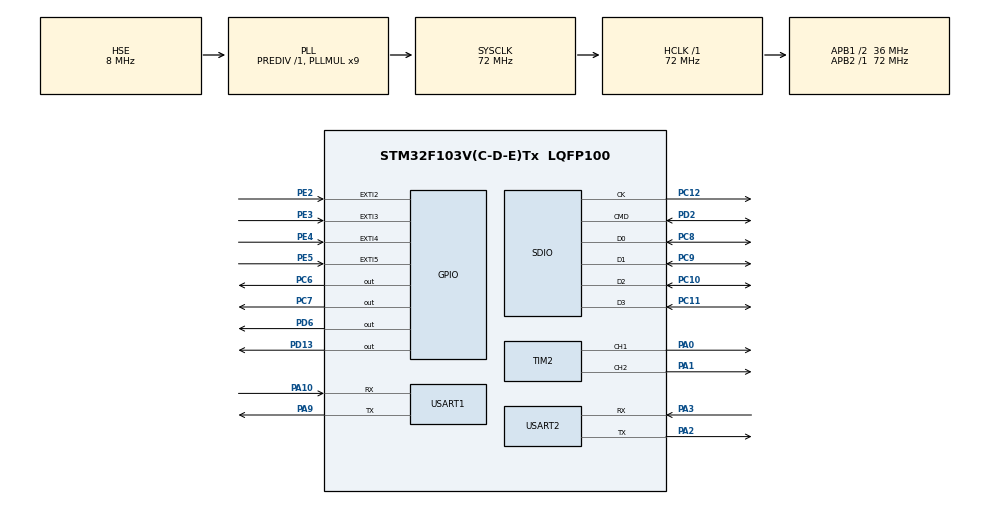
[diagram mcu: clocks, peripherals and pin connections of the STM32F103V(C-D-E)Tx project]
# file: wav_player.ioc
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FATFS._FS_LOCK=0
FATFS._FS_MINIMIZE=1
FATFS._FS_NORTC=1
FATFS._FS_READONLY=1
FATFS._FS_TINY=1
FATFS._USE_FASTSEEK=0
FATFS._USE_LFN=0
FATFS._USE_MKFS=0
FATFS._USE_STRFUNC=0
Mcu.Family=STM32F1
Mcu.Name=STM32F103V(C-D-E)Tx
Mcu.Package=LQFP100
NVIC.EXTI2_IRQn=true\:0\:0\:false
NVIC.EXTI3_IRQn=true\:0\:0\:false
NVIC.EXTI4_IRQn=true\:0\:0\:false
NVIC.EXTI9_5_IRQn=true\:0\:0\:false
NVIC.PriorityGroup=NVIC_PRIORITYGROUP_4
NVIC.TIM1_UP_IRQn=true\:0\:0\:false
OSC_IN.Mode=HSE-External-Oscillator
OSC_IN.Signal=RCC_OSC_IN
OSC_OUT.Mode=HSE-External-Oscillator
OSC_OUT.Signal=RCC_OSC_OUT
PA0-WKUP.Signal=S_TIM2_CH1_ETR
PA1.Signal=S_TIM2_CH2
PA10.Mode=Asynchronous
PA10.Signal=USART1_RX
PA2.Mode=Asynchronous
PA2.Signal=USART2_TX
PA3.Mode=Asynchronous
PA3.Signal=USART2_RX
PA9.Mode=Asynchronous
PA9.Signal=USART1_TX
PC10.Mode=SD_4_bits_Wide_bus
PC10.Signal=SDIO_D2
PC11.Mode=SD_4_bits_Wide_bus
PC11.Signal=SDIO_D3
PC12.Mode=SD_4_bits_Wide_bus
PC12.Signal=SDIO_CK
PC14-OSC32_IN.Mode=LSE-External-Oscillator
PC14-OSC32_IN.Signal=RCC_OSC32_IN
PC15-OSC32_OUT.Mode=LSE-External-Oscillator
PC15-OSC32_OUT.Signal=RCC_OSC32_OUT
PC6.Signal=GPIO_Output
PC7.Signal=GPIO_Output
PC8.Mode=SD_4_bits_Wide_bus
PC8.Signal=SDIO_D0
PC9.Mode=SD_4_bits_Wide_bus
PC9.Signal=SDIO_D1
PD13.Signal=GPIO_Output
PD2.Mode=SD_4_bits_Wide_bus
PD2.Signal=SDIO_CMD
PD6.Signal=GPIO_Output
PE2.Signal=GPXTI2
PE3.Signal=GPXTI3
PE4.Signal=GPXTI4
PE5.Signal=GPXTI5
ProjectManager.TargetToolchain=SW4STM32
RCC.AHBFreq_Value=72000000
RCC.APB1CLKDivider=RCC_HCLK_DIV2
RCC.APB1Freq_Value=36000000
RCC.APB1TimFreq_Value=72000000
RCC.APB2Freq_Value=72000000
RCC.APB2TimFreq_Value=72000000
RCC.HCLKFreq_Value=72000000
RCC.HSIState=RCC_HSI_ON
RCC.PLLMUL=RCC_PLL_MUL9
RCC.PLLSourceVirtual=RCC_PLLSOURCE_HSE
RCC.SYSCLKFreq_VALUE=72000000
RCC.SYSCLKSource=RCC_SYSCLKSOURCE_PLLCLK
RCC.USBFreq_Value=72000000
SDIO.BusWide=SDIO_BUS_WIDE_1B
SDIO.ClockDiv=3
SDIO.WideMode=SDIO_BUS_WIDE_4B
SH.S_TIM2_CH1_ETR.0=TIM2_CH1,PWM Generation1 CH1
SH.S_TIM2_CH2.0=TIM2_CH2,PWM Generation2 CH2
TIM2.Channel-PWM\ Generation2\ CH2=TIM_CHANNEL_2
TIM2.OCFastMode_PWM-PWM\ Generation1\ CH1=TIM_OCFAST_ENABLE
TIM2.OCFastMode_PWM-PWM\ Generation2\ CH2=TIM_OCFAST_ENABLE
VP_FATFS_VS_SDIO.Mode=SDIO
VP_TIM1_VS_ClockSourceINT.Mode=Internal
VP_TIM2_VS_ClockSourceINT.Mode=Internal
board=wav_player

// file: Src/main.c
/**
  ******************************************************************************
  * File Name          : main.c
  * Description        : Main program body
  ******************************************************************************
  *
  * COPYRIGHT(c) 2015 STMicroelectronics
  *
  * Redistribution and use in source and binary forms, with or without modification,
  * are permitted provided that the following conditions are met:
  *   1. Redistributions of source code must retain the above copyright notice,
  *      this list of conditions and the following disclaimer.
  *   2. Redistributions in binary form must reproduce the above copyright notice,
  *      this list of conditions and the following disclaimer in the documentation
  *      and/or other materials provided with the distribution.
  *   3. Neither the name of STMicroelectronics nor the names of its contributors
  *      may be used to endorse or promote products derived from this software
  *      without specific prior written permission.
  *
  * THIS SOFTWARE IS PROVIDED BY THE COPYRIGHT HOLDERS AND CONTRIBUTORS "AS IS"
  * AND ANY EXPRESS OR IMPLIED WARRANTIES, INCLUDING, BUT NOT LIMITED TO, THE
  * IMPLIED WARRANTIES OF MERCHANTABILITY AND FITNESS FOR A PARTICULAR PURPOSE ARE
  * DISCLAIMED. IN NO EVENT SHALL THE COPYRIGHT HOLDER OR CONTRIBUTORS BE LIABLE
  * FOR ANY DIRECT, INDIRECT, INCIDENTAL, SPECIAL, EXEMPLARY, OR CONSEQUENTIAL
  * DAMAGES (INCLUDING, BUT NOT LIMITED TO, PROCUREMENT OF SUBSTITUTE GOODS OR
  * SERVICES; LOSS OF USE, DATA, OR PROFITS; OR BUSINESS INTERRUPTION) HOWEVER
  * CAUSED AND ON ANY THEORY OF LIABILITY, WHETHER IN CONTRACT, STRICT LIABILITY,
  * OR TORT (INCLUDING NEGLIGENCE OR OTHERWISE) ARISING IN ANY WAY OUT OF THE USE
  * OF THIS SOFTWARE, EVEN IF ADVISED OF THE POSSIBILITY OF SUCH DAMAGE.
  *
  ******************************************************************************
  */
#include "stm32f1xx_hal.h"
#include "fatfs.h"

/* USER CODE BEGIN Includes */
#include <string.h>
#include <ctype.h>
/* USER CODE END Includes */

SD_HandleTypeDef hsd;
HAL_SD_CardInfoTypedef SDCardInfo;

TIM_HandleTypeDef htim1;
TIM_HandleTypeDef htim2;

UART_HandleTypeDef huart1;
UART_HandleTypeDef huart2;

/* USER CODE BEGIN PV */
/* Private variables ---------------------------------------------------------*/
FATFS fs;
DIR dir;
FIL fp;
FILINFO fi;

/* USER CODE END PV */

void SystemClock_Config(void);
static void MX_GPIO_Init(void);
static void MX_SDIO_SD_Init(void);
static void MX_TIM1_Init(void);
static void MX_TIM2_Init(void);
static void MX_USART1_UART_Init(void);
static void MX_USART2_UART_Init(void);

/* USER CODE BEGIN PFP */
/* Private function prototypes -----------------------------------------------*/
/* USER CODE END PFP */

/* USER CODE BEGIN 0 */
/****************************************************
 * Debug Utilities
 *  ConsoleLog: send string via DEBUG_UART_HANDLE
 ****************************************************/

#define DEBUG_UART_HANDLE huart1

void ConsoleLog(const char* str) {
  HAL_UART_Transmit(&DEBUG_UART_HANDLE, str, strlen(str), 1);
}

/********************************************************************************
 * FIFO Audio buffer
 *  AudioBufferIsFull:  return 1 when buffer is full
 *  AudioBufferIsEmpty: return 1 when buffer is empty
 *  AudioBufferPush:    push data into buffer (busy wait while buffer is full)
 *  AudioBufferPop:     pop data from buffer (busy wait while buffer is empty)
 ********************************************************************************/

#define AUIDO_BUF_TYPE uint8_t
#define AUIDO_BUF_SIZE 512  // 2n
#define AUIDO_BUF_SIZE_MAX_INDEX (AUIDO_BUF_SIZE - 1)
volatile uint32_t AudioBufferWritePointer = 0;
volatile uint32_t AudioBufferReadPointer = 0;

uint8_t AudioPlayCancel = 0;
AUIDO_BUF_TYPE AudioBuffer[AUIDO_BUF_SIZE];

uint8_t AudioBufferIsFull(void) {
  return
      ((AudioBufferWritePointer + 1) & AUIDO_BUF_SIZE_MAX_INDEX)
          == AudioBufferReadPointer ? 1 : 0;
}

uint8_t AudioBufferIsEmpty(void) {
  return AudioBufferReadPointer == AudioBufferWritePointer ? 1 : 0;
}

void AudioBufferPush(AUIDO_BUF_TYPE val) {
  // wait
  while (AudioBufferIsFull() && AudioPlayCancel == 0);

  // set data
  AudioBuffer[AudioBufferWritePointer] = val;

  // increment
  AudioBufferWritePointer = (AudioBufferWritePointer + 1)
      & AUIDO_BUF_SIZE_MAX_INDEX;
}

AUIDO_BUF_TYPE AudioBufferPop(void) {
  // wait
  while (AudioBufferIsEmpty() && AudioPlayCancel == 0);

  // get data
  AUIDO_BUF_TYPE data = AudioBuffer[AudioBufferReadPointer];

  // increment
  AudioBufferReadPointer = (AudioBufferReadPointer + 1) & AUIDO_BUF_SIZE_MAX_INDEX;

  return data;
}

/********************************************************
 * Wave header parser
 *  return: data chunk length [bytes]; to read and play
 *  set: AudioChannels:     1 or 2     [channels]
 *       audioResolution:   8 or 16    [bits]
 *       AudioSamplingRate  <=AUDIO_SAMPLINGRATE_MAX [Hz]
 ********************************************************/

#define LD_DWORD(ptr) (DWORD)(((DWORD)*((BYTE*)(ptr)+3)<<24)|((DWORD)*((BYTE*)(ptr)+2)<<16)|((WORD)*((BYTE*)(ptr)+1)<<8)|*(BYTE*)(ptr))
#define FCC(c1,c2,c3,c4)    (((DWORD)c4<<24)+((DWORD)c3<<16)+((WORD)c2<<8)+(BYTE)c1)
#define wave_header FCC('W','A','V','E')
#define fmt_chunk   FCC('f','m','t',' ')
#define data_chunk  FCC('d','a','t','a')
#define LIST_chunk  FCC('L','I','S','T')
#define fact_chunk  FCC('f','a','c','t')

#define AUDIO_SAMPLINGRATE_MAX 48000

uint8_t AudioChannels = 0;
uint8_t AudioResolution = 0;
uint32_t AudioSamplingRate = 0;

uint32_t parse_wav_header(void) {
  uint32_t ChunkID, ChunkSize, readBytes;
  uint8_t buf[AUIDO_BUF_SIZE];

  if (f_read(&fp, buf, 12, &readBytes) != FR_OK)
    return 0;
  if (readBytes != 12 || LD_DWORD(buf+8) != wave_header)
    return 0;

  while (1) {
    f_read(&fp, buf, 8, &readBytes);
    if (readBytes != 8)
      return 0;
    ChunkID = LD_DWORD(&buf[0]);
    ChunkSize = LD_DWORD(&buf[4]);

    switch (ChunkID) {
    // get format information
    case fmt_chunk:
      // read chunk content
      if (ChunkSize > 100 || ChunkSize < 16)
        return 0;
      f_read(&fp, buf, ChunkSize, &readBytes);
      if (readBytes != ChunkSize)
        return 0;
      // Check coding type (PCM=1)
      if (buf[0] != 1)
        return 0;
      // channels
      AudioChannels = buf[2];
      if (AudioChannels != 1 && AudioChannels != 2)
        return 0;
      // resolution
      AudioResolution = buf[14];
      if (AudioResolution != 8 && AudioResolution != 16)
        return 0;
      // sampling rate
      AudioSamplingRate = LD_DWORD(buf + 4);
      if (AudioSamplingRate
          < HAL_RCC_GetHCLKFreq()
              / 65535|| AudioSamplingRate > AUDIO_SAMPLINGRATE_MAX)
        return 0;
      break;
      // get data length
    case data_chunk:
      return ChunkSize; // data length in bytes
      // skip
    default:
      f_lseek(&fp, fp.fptr + ChunkSize);
    }
  }
  return 0;
}

/********************************************************
 * Wave player
 *  filename: wave file to play
 ********************************************************/

#define CHANNEL_LEFT TIM_CHANNEL_1// or TIM_CHANNEL_2

uint32_t AudioLastOutputChannel = CHANNEL_LEFT;// Left
uint8_t AudioPause = 0;

void play(char* filename) {
  // open file
  if (f_open(&fp, filename, FA_READ) != FR_OK) {
    return;
  }

  // parse header
  uint32_t len = parse_wav_header();
  if (len == 0) {
    return;
  }

  // print play info
  char text[50];
  uint8_t slen = len / AudioSamplingRate / AudioChannels / AudioResolution * 8;
  sprintf(text, ">%s:  %d:%d  %luHz %ubit %uch\r\n", filename,
      slen / 60, slen % 60,
      AudioSamplingRate,
      AudioResolution, AudioChannels);
  ConsoleLog(text);

  // enable sampling clock
  htim1.Instance->ARR = HAL_RCC_GetHCLKFreq() / AudioSamplingRate;
  HAL_TIM_Base_Start_IT(&htim1);

  // enable PWM generator
  htim2.Instance->ARR = 255;
  HAL_TIM_PWM_Start(&htim2, TIM_CHANNEL_1);
  HAL_TIM_PWM_Start(&htim2, TIM_CHANNEL_2);

  // read data
  uint8_t buf[AUIDO_BUF_SIZE];
  uint32_t rb, i;

  AudioPause = 0;
  AudioPlayCancel = 0;
  AudioBufferWritePointer = 0;
  AudioBufferReadPointer = 0;
  AudioLastOutputChannel = CHANNEL_LEFT;

  // unsigned 8bit integer L,R
  if (AudioResolution == 8) {
    while (AudioPlayCancel == 0)
    {
      if (f_read(&fp, buf, AUIDO_BUF_SIZE, &rb) != FR_OK)
      {
        break;
      }
      if (rb != AUIDO_BUF_SIZE)
      {
        break;
      }
      // push data
      for (i = 0; i < AUIDO_BUF_SIZE; i++)
        AudioBufferPush(buf[i]);
    }
  }
  // little endian signed 16bit integer, L,R
  else {
    int16_t sval;
    uint16_t seval;
    while (AudioPlayCancel == 0)
    {
      if (f_read(&fp, buf, AUIDO_BUF_SIZE, &rb) != FR_OK)
      {
        break;
      }
      if (rb != AUIDO_BUF_SIZE)
      {
        break;
      }
      // push data
      for (i = 0; i < AUIDO_BUF_SIZE; i += 2)
      {
        sval = buf[i] | (buf[i + 1] << 8);// get int16
        seval = sval < 0 ? (uint16_t)sval - 32768 : (uint16_t)sval + 32768;// to uint16
        AudioBufferPush(seval / 0x101);// to uint8
      }
    }
  }

  f_close(&fp);

  // wait play tail
  HAL_Delay(10);

  // break
  AudioPlayCancel = 1;

  // stop timers
  HAL_TIM_Base_Stop_IT(&htim1);
  HAL_TIM_PWM_Stop(&htim2, TIM_CHANNEL_1);
  HAL_TIM_PWM_Stop(&htim2, TIM_CHANNEL_2);
}

uint32_t get_next_channel() {
  uint32_t next =
      AudioLastOutputChannel == TIM_CHANNEL_1 ? TIM_CHANNEL_2 : TIM_CHANNEL_1;
  AudioLastOutputChannel = next;
  return next;
}

void HAL_TIM_PeriodElapsedCallback(TIM_HandleTypeDef* htim) {
  // no data to play
  if (AudioBufferIsEmpty() || AudioPause == 1) {
    return;
  }

  // set data
  AUIDO_BUF_TYPE data = AudioBufferPop();
  __HAL_TIM_SetCompare(&htim2, get_next_channel(), data);
  __HAL_TIM_SetCompare(&htim2, get_next_channel(), AudioChannels == 2 ? AudioBufferPop() : data);
}

// hardware switch handler
void HAL_GPIO_EXTI_Callback(uint16_t GPIO_Pin) {
  switch (GPIO_Pin) {
  case GPIO_PIN_5:
    // skip
    AudioPlayCancel = 1;
    break;
  case GPIO_PIN_4:
    // pause
    AudioPause ^= 1;
    break;
  case GPIO_PIN_3:
    break;
  case GPIO_PIN_2:
    break;
  }
}
/* USER CODE END 0 */

int main(void)
{

  /* MCU Configuration----------------------------------------------------------*/

  /* Reset of all peripherals, Initializes the Flash interface and the Systick. */
  HAL_Init();

  /* Configure the system clock */
  SystemClock_Config();

  /* Initialize all configured peripherals */
  MX_GPIO_Init();
  MX_SDIO_SD_Init();
  MX_TIM1_Init();
  MX_TIM2_Init();
  MX_USART1_UART_Init();
  MX_USART2_UART_Init();
  MX_FATFS_Init();

  /* USER CODE BEGIN 2 */
  HAL_Delay(2000);
  ConsoleLog("*** STM32F103VET6T SDIO+FATFS+PWM WAV PLAYER ***\r\n");

  // open disk
  if (f_mount(&fs, SD_Path, 0) != FR_OK) {
    ConsoleLog("Error: f_mount\r\n");
    return 1;
  }

  // open root directory
  if (f_opendir(&dir, "/") != FR_OK) {
    ConsoleLog("Error: f_opendir\r\n");
    return 1;
  }

  /* USER CODE END 2 */

  /* Infinite loop */
  while (1) {

  /* USER CODE BEGIN 3 */
    if (f_readdir(&dir, &fi) != FR_OK || !fi.fname[0]) {
      f_readdir(&dir, NULL);
      continue;
    }
    play(fi.fname);
  }

  f_closedir(&dir);
  f_mount(NULL, SD_Path, 0);

  return 0;
  /* USER CODE END 3 */

}

/** System Clock Configuration
*/
void SystemClock_Config(void)
{

  RCC_OscInitTypeDef RCC_OscInitStruct;
  RCC_ClkInitTypeDef RCC_ClkInitStruct;

  RCC_OscInitStruct.OscillatorType = RCC_OSCILLATORTYPE_HSE;
  RCC_OscInitStruct.HSEState = RCC_HSE_ON;
  RCC_OscInitStruct.HSEPredivValue = RCC_HSE_PREDIV_DIV1;
  RCC_OscInitStruct.PLL.PLLState = RCC_PLL_ON;
  RCC_OscInitStruct.PLL.PLLSource = RCC_PLLSOURCE_HSE;
  RCC_OscInitStruct.PLL.PLLMUL = RCC_PLL_MUL9;
  HAL_RCC_OscConfig(&RCC_OscInitStruct);

  RCC_ClkInitStruct.ClockType = RCC_CLOCKTYPE_SYSCLK|RCC_CLOCKTYPE_PCLK1;
  RCC_ClkInitStruct.SYSCLKSource = RCC_SYSCLKSOURCE_PLLCLK;
  RCC_ClkInitStruct.AHBCLKDivider = RCC_SYSCLK_DIV1;
  RCC_ClkInitStruct.APB1CLKDivider = RCC_HCLK_DIV2;
  RCC_ClkInitStruct.APB2CLKDivider = RCC_HCLK_DIV1;
  HAL_RCC_ClockConfig(&RCC_ClkInitStruct, FLASH_LATENCY_2);

  HAL_SYSTICK_Config(HAL_RCC_GetHCLKFreq()/1000);

  HAL_SYSTICK_CLKSourceConfig(SYSTICK_CLKSOURCE_HCLK);

}

/* SDIO init function */
void MX_SDIO_SD_Init(void)
{

  hsd.Instance = SDIO;
  hsd.Init.ClockEdge = SDIO_CLOCK_EDGE_RISING;
  hsd.Init.ClockBypass = SDIO_CLOCK_BYPASS_DISABLE;
  hsd.Init.ClockPowerSave = SDIO_CLOCK_POWER_SAVE_DISABLE;
  hsd.Init.BusWide = SDIO_BUS_WIDE_1B;
  hsd.Init.HardwareFlowControl = SDIO_HARDWARE_FLOW_CONTROL_DISABLE;
  hsd.Init.ClockDiv = 3;

}

/* TIM1 init function */
void MX_TIM1_Init(void)
{

  TIM_ClockConfigTypeDef sClockSourceConfig;
  TIM_MasterConfigTypeDef sMasterConfig;

  htim1.Instance = TIM1;
  htim1.Init.Prescaler = 0;
  htim1.Init.CounterMode = TIM_COUNTERMODE_UP;
  htim1.Init.Period = 0;
  htim1.Init.ClockDivision = TIM_CLOCKDIVISION_DIV1;
  htim1.Init.RepetitionCounter = 0;
  HAL_TIM_Base_Init(&htim1);

  sClockSourceConfig.ClockSource = TIM_CLOCKSOURCE_INTERNAL;
  HAL_TIM_ConfigClockSource(&htim1, &sClockSourceConfig);

  sMasterConfig.MasterOutputTrigger = TIM_TRGO_RESET;
  sMasterConfig.MasterSlaveMode = TIM_MASTERSLAVEMODE_DISABLE;
  HAL_TIMEx_MasterConfigSynchronization(&htim1, &sMasterConfig);

}

/* TIM2 init function */
void MX_TIM2_Init(void)
{

  TIM_ClockConfigTypeDef sClockSourceConfig;
  TIM_MasterConfigTypeDef sMasterConfig;
  TIM_OC_InitTypeDef sConfigOC;

  htim2.Instance = TIM2;
  htim2.Init.Prescaler = 0;
  htim2.Init.CounterMode = TIM_COUNTERMODE_UP;
  htim2.Init.Period = 0;
  htim2.Init.ClockDivision = TIM_CLOCKDIVISION_DIV1;
  HAL_TIM_Base_Init(&htim2);

  sClockSourceConfig.ClockSource = TIM_CLOCKSOURCE_INTERNAL;
  HAL_TIM_ConfigClockSource(&htim2, &sClockSourceConfig);

  HAL_TIM_PWM_Init(&htim2);

  sMasterConfig.MasterOutputTrigger = TIM_TRGO_RESET;
  sMasterConfig.MasterSlaveMode = TIM_MASTERSLAVEMODE_DISABLE;
  HAL_TIMEx_MasterConfigSynchronization(&htim2, &sMasterConfig);

  sConfigOC.OCMode = TIM_OCMODE_PWM1;
  sConfigOC.Pulse = 0;
  sConfigOC.OCPolarity = TIM_OCPOLARITY_HIGH;
  sConfigOC.OCFastMode = TIM_OCFAST_ENABLE;
  HAL_TIM_PWM_ConfigChannel(&htim2, &sConfigOC, TIM_CHANNEL_1);

  HAL_TIM_PWM_ConfigChannel(&htim2, &sConfigOC, TIM_CHANNEL_2);

}

/* USART1 init function */
void MX_USART1_UART_Init(void)
{

  huart1.Instance = USART1;
  huart1.Init.BaudRate = 115200;
  huart1.Init.WordLength = UART_WORDLENGTH_8B;
  huart1.Init.StopBits = UART_STOPBITS_1;
  huart1.Init.Parity = UART_PARITY_NONE;
  huart1.Init.Mode = UART_MODE_TX_RX;
  huart1.Init.HwFlowCtl = UART_HWCONTROL_NONE;
  huart1.Init.OverSampling = UART_OVERSAMPLING_16;
  HAL_UART_Init(&huart1);

}

/* USART2 init function */
void MX_USART2_UART_Init(void)
{

  huart2.Instance = USART2;
  huart2.Init.BaudRate = 115200;
  huart2.Init.WordLength = UART_WORDLENGTH_8B;
  huart2.Init.StopBits = UART_STOPBITS_1;
  huart2.Init.Parity = UART_PARITY_NONE;
  huart2.Init.Mode = UART_MODE_TX_RX;
  huart2.Init.HwFlowCtl = UART_HWCONTROL_NONE;
  huart2.Init.OverSampling = UART_OVERSAMPLING_16;
  HAL_UART_Init(&huart2);

}

/** Configure pins as
        * Analog
        * Input
        * Output
        * EVENT_OUT
        * EXTI
*/
void MX_GPIO_Init(void)
{

  GPIO_InitTypeDef GPIO_InitStruct;

  /* GPIO Ports Clock Enable */
  __GPIOE_CLK_ENABLE();
  __GPIOC_CLK_ENABLE();
  __GPIOA_CLK_ENABLE();
  __GPIOD_CLK_ENABLE();

  /*Configure GPIO pins : PE2 PE3 PE4 PE5 */
  GPIO_InitStruct.Pin = GPIO_PIN_2|GPIO_PIN_3|GPIO_PIN_4|GPIO_PIN_5;
  GPIO_InitStruct.Mode = GPIO_MODE_IT_RISING;
  GPIO_InitStruct.Pull = GPIO_NOPULL;
  HAL_GPIO_Init(GPIOE, &GPIO_InitStruct);

  /*Configure GPIO pins : PD13 PD6 */
  GPIO_InitStruct.Pin = GPIO_PIN_13|GPIO_PIN_6;
  GPIO_InitStruct.Mode = GPIO_MODE_OUTPUT_PP;
  GPIO_InitStruct.Speed = GPIO_SPEED_LOW;
  HAL_GPIO_Init(GPIOD, &GPIO_InitStruct);

  /*Configure GPIO pins : PC6 PC7 */
  GPIO_InitStruct.Pin = GPIO_PIN_6|GPIO_PIN_7;
  GPIO_InitStruct.Mode = GPIO_MODE_OUTPUT_PP;
  GPIO_InitStruct.Speed = GPIO_SPEED_LOW;
  HAL_GPIO_Init(GPIOC, &GPIO_InitStruct);

  /* EXTI interrupt init*/
  HAL_NVIC_SetPriority(EXTI2_IRQn, 0, 0);
  HAL_NVIC_EnableIRQ(EXTI2_IRQn);

  HAL_NVIC_SetPriority(EXTI3_IRQn, 0, 0);
  HAL_NVIC_EnableIRQ(EXTI3_IRQn);

  HAL_NVIC_SetPriority(EXTI4_IRQn, 0, 0);
  HAL_NVIC_EnableIRQ(EXTI4_IRQn);

  HAL_NVIC_SetPriority(EXTI9_5_IRQn, 0, 0);
  HAL_NVIC_EnableIRQ(EXTI9_5_IRQn);

}

/************************ (C) COPYRIGHT STMicroelectronics *****END OF FILE****/
